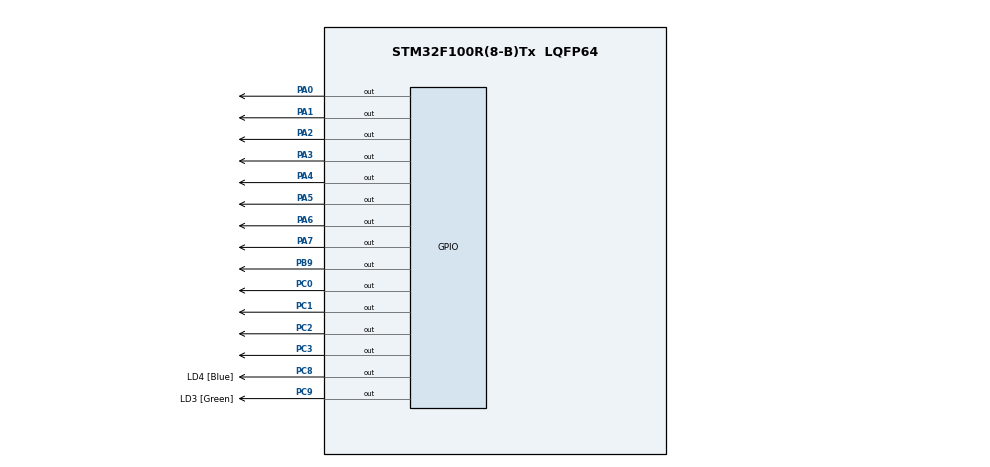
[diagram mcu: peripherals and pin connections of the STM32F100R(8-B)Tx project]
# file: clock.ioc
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Mcu.Family=STM32F1
Mcu.Name=STM32F100R(8-B)Tx
Mcu.Package=LQFP64
NVIC.PriorityGroup=NVIC_PRIORITYGROUP_4
PA0-WKUP.Signal=GPIO_Output
PA1.Signal=GPIO_Output
PA13.GPIO_Label=TMS_SWDIO
PA13.Mode=Serial_Wire
PA13.Signal=SYS_JTMS-SWDIO
PA14.GPIO_Label=TCK_SWCLK
PA14.Mode=Serial_Wire
PA14.Signal=SYS_JTCK-SWCLK
PA2.Signal=GPIO_Output
PA3.Signal=GPIO_Output
PA4.Signal=GPIO_Output
PA5.Signal=GPIO_Output
PA6.Signal=GPIO_Output
PA7.Signal=GPIO_Output
PB9.Signal=GPIO_Output
PC0.Signal=GPIO_Output
PC1.Signal=GPIO_Output
PC14-OSC32_IN.Mode=LSE-External-Oscillator
PC14-OSC32_IN.Signal=RCC_OSC32_IN
PC15-OSC32_OUT.Mode=LSE-External-Oscillator
PC15-OSC32_OUT.Signal=RCC_OSC32_OUT
PC2.Signal=GPIO_Output
PC3.Signal=GPIO_Output
PC8.GPIO_Label=LD4 [Blue]
PC8.Signal=GPIO_Output
PC9.GPIO_Label=LD3 [Green]
PC9.Signal=GPIO_Output
PD0-OSC_IN.Mode=HSE-External-Oscillator
PD0-OSC_IN.Signal=RCC_OSC_IN
PD1-OSC_OUT.Mode=HSE-External-Oscillator
PD1-OSC_OUT.Signal=RCC_OSC_OUT
ProjectManager.HeapSize=0x200
ProjectManager.StackSize=0x400
ProjectManager.TargetToolchain=Makefile
RCC.AHBFreq_Value=24000000
RCC.APB1Freq_Value=24000000
RCC.APB1TimFreq_Value=24000000
RCC.APB2Freq_Value=24000000
RCC.APB2TimFreq_Value=24000000
RCC.HCLKFreq_Value=24000000
RCC.PLLMUL=RCC_PLL_MUL3
RCC.PLLSource=RCC_PLLSOURCE_HSE
RCC.SYSCLKFreq_VALUE=24000000
RCC.SYSCLKSource=RCC_SYSCLKSOURCE_PLLCLK
board=STM32VLDISCOVERY

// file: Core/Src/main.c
/* USER CODE BEGIN Header */
/**
  ******************************************************************************
  * @file           : main.c
  * @brief          : Main program body
  ******************************************************************************
  * @attention
  *
  * <h2><center>&copy; Copyright (c) 2024 STMicroelectronics.
  * All rights reserved.</center></h2>
  *
  * This software component is licensed by ST under BSD 3-Clause license,
  * the "License"; You may not use this file except in compliance with the
  * License. You may obtain a copy of the License at:
  *                        opensource.org/licenses/BSD-3-Clause
  *
  ******************************************************************************
  */
/* USER CODE END Header */
#include "main.h"
#include "gpio.h"

/* USER CODE BEGIN Includes */
#include <stddef.h>
/* USER CODE END Includes */

/* USER CODE BEGIN PM */
#define DIG_1_ON		LL_GPIO_SetOutputPin (GPIOB, LL_GPIO_PIN_9);
#define DIG_3_ON		LL_GPIO_SetOutputPin (GPIOC, LL_GPIO_PIN_1);
#define	DIG_4_ON		LL_GPIO_SetOutputPin (GPIOC, LL_GPIO_PIN_2);
#define	DIG_2_ON		LL_GPIO_SetOutputPin (GPIOC, LL_GPIO_PIN_0);

#define DIG_1_OFF		LL_GPIO_ResetOutputPin (GPIOB, LL_GPIO_PIN_9);
#define	DIG_2_OFF		LL_GPIO_ResetOutputPin (GPIOC, LL_GPIO_PIN_0);
#define DIG_3_OFF		LL_GPIO_ResetOutputPin (GPIOC, LL_GPIO_PIN_1);
#define	DIG_4_OFF		LL_GPIO_ResetOutputPin (GPIOC, LL_GPIO_PIN_2);

#define SEG_D_ON		LL_GPIO_ResetOutputPin (GPIOC, LL_GPIO_PIN_3);//D
#define SEG_E_ON		LL_GPIO_ResetOutputPin (GPIOA, LL_GPIO_PIN_0);//E
#define SEG_F_ON		LL_GPIO_ResetOutputPin (GPIOA, LL_GPIO_PIN_1);//F
#define SEG_A_ON		LL_GPIO_ResetOutputPin (GPIOA, LL_GPIO_PIN_2);//A
#define SEG_B_ON		LL_GPIO_ResetOutputPin (GPIOA, LL_GPIO_PIN_3);//B
#define SEG_C_ON		LL_GPIO_ResetOutputPin (GPIOA, LL_GPIO_PIN_4);//C
#define SEG_G_ON		LL_GPIO_ResetOutputPin (GPIOA, LL_GPIO_PIN_5);//G
#define SEG_D3_ON		LL_GPIO_ResetOutputPin (GPIOA, LL_GPIO_PIN_6);//D3 + DIG2
#define SEG_D4_ON		LL_GPIO_ResetOutputPin (GPIOA, LL_GPIO_PIN_7);//D4 + DIG3

#define SEG_D_OFF		LL_GPIO_SetOutputPin (GPIOC, LL_GPIO_PIN_3);//D
#define SEG_E_OFF		LL_GPIO_SetOutputPin (GPIOA, LL_GPIO_PIN_0);//E
#define SEG_F_OFF		LL_GPIO_SetOutputPin (GPIOA, LL_GPIO_PIN_1);//F
#define SEG_A_OFF		LL_GPIO_SetOutputPin (GPIOA, LL_GPIO_PIN_2);//A
#define SEG_B_OFF		LL_GPIO_SetOutputPin (GPIOA, LL_GPIO_PIN_3);//B
#define SEG_C_OFF		LL_GPIO_SetOutputPin (GPIOA, LL_GPIO_PIN_4);//C
#define SEG_G_OFF		LL_GPIO_SetOutputPin (GPIOA, LL_GPIO_PIN_5);//G
#define SEG_D3_OFF	LL_GPIO_SetOutputPin (GPIOA, LL_GPIO_PIN_6);//D3 + DIG2
#define SEG_D4_OFF	LL_GPIO_SetOutputPin (GPIOA, LL_GPIO_PIN_7);//D4 + DIG3
/* USER CODE END PM */

/* USER CODE BEGIN PV */
static uint32_t timeout = 250;
/* USER CODE END PV */

void SystemClock_Config(void);
/* USER CODE BEGIN PFP */
void blurs_on(void)
{
	DIG_2_ON
	SEG_D3_OFF
	DIG_3_ON
	SEG_D4_OFF
}

void blurs_off(void)
{
	DIG_2_OFF
	SEG_D3_OFF
	DIG_3_OFF
	SEG_D4_OFF
}

void digital_seg_1_on(void)
{
	DIG_1_ON DIG_2_OFF DIG_3_OFF DIG_4_OFF
}

void digital_seg_1_off(void)
{
	DIG_1_OFF
}

void digital_seg_2_on(void)
{
	DIG_1_OFF DIG_2_ON DIG_3_OFF DIG_4_OFF
}

void digital_seg_2_off(void)
{
	DIG_2_OFF
}

void digital_seg_3_on(void)
{
	DIG_1_OFF DIG_2_OFF DIG_3_ON DIG_4_OFF
}

void digital_seg_3_off(void)
{
	DIG_3_OFF
}

void digital_seg_4_on(void)
{
	DIG_1_OFF DIG_2_OFF DIG_3_OFF DIG_4_ON
}

void digital_seg_4_off(void)
{
	DIG_4_OFF
}

void digital_0_on(void)
{
	SEG_A_ON SEG_B_ON	SEG_C_ON SEG_D_ON	SEG_E_ON SEG_F_ON	SEG_G_OFF	SEG_D3_OFF SEG_D4_OFF
}

void digital_0_off(void)
{
	SEG_A_OFF SEG_B_OFF SEG_C_OFF SEG_D_OFF SEG_E_OFF SEG_F_OFF
}

void digital_1_on(void)
{
	SEG_A_OFF	SEG_B_ON SEG_C_ON SEG_D_OFF SEG_E_OFF SEG_F_OFF SEG_G_OFF SEG_D3_OFF SEG_D4_OFF
}

void digital_1_off(void)
{
	SEG_B_OFF SEG_C_OFF
}

void digital_2_on(void)
{
	SEG_A_ON SEG_B_ON SEG_C_OFF SEG_D_ON SEG_E_ON SEG_F_OFF SEG_G_ON SEG_D3_OFF SEG_D4_OFF
}

void digital_2_off(void)
{
	SEG_A_OFF SEG_B_OFF SEG_D_OFF SEG_E_OFF SEG_G_OFF
}

void digital_3_on(void)
{
	SEG_A_ON SEG_B_ON SEG_C_ON SEG_D_ON SEG_E_OFF SEG_F_OFF SEG_G_ON SEG_D3_OFF SEG_D4_OFF
}

void digital_3_off(void)
{
	SEG_A_OFF SEG_B_OFF SEG_C_OFF SEG_D_OFF SEG_G_OFF
}

void digital_4_on(void)
{
	SEG_A_OFF SEG_B_ON SEG_C_ON SEG_D_OFF SEG_E_OFF SEG_F_ON	SEG_G_ON SEG_D3_OFF SEG_D4_OFF
}

void digital_4_off(void)
{
	SEG_B_OFF SEG_C_OFF SEG_F_OFF	SEG_G_OFF
}

void digital_5_on(void)
{
	SEG_A_ON SEG_B_OFF SEG_C_ON SEG_D_ON SEG_E_OFF SEG_F_ON	SEG_G_ON SEG_D3_OFF SEG_D4_OFF
}

void digital_5_off(void)
{
	SEG_A_OFF SEG_C_OFF SEG_D_OFF SEG_F_OFF	SEG_G_OFF
}

void digital_6_on(void)
{
	SEG_A_ON SEG_B_OFF SEG_C_ON SEG_D_ON SEG_E_ON SEG_F_ON SEG_G_ON SEG_D3_OFF SEG_D4_OFF
}

void digital_6_off(void)
{
	SEG_A_OFF SEG_C_OFF SEG_D_OFF SEG_E_OFF SEG_F_OFF SEG_G_OFF
}

void digital_7_on(void)
{
	SEG_A_ON SEG_B_ON SEG_C_ON SEG_D_OFF SEG_E_OFF SEG_F_OFF SEG_G_OFF SEG_D3_OFF SEG_D4_OFF
}

void digital_7_off(void)
{
	SEG_A_OFF SEG_B_OFF SEG_C_OFF
}

void digital_8_on(void)
{
	SEG_A_ON SEG_B_ON SEG_C_ON SEG_D_ON SEG_E_ON SEG_F_ON SEG_G_ON SEG_D3_OFF SEG_D4_OFF
}

void digital_8_off(void)
{
	SEG_A_OFF SEG_B_OFF SEG_C_OFF SEG_D_OFF SEG_E_OFF SEG_F_OFF SEG_G_OFF
}

void digital_9_on(void)
{
	SEG_A_ON SEG_B_ON SEG_C_ON SEG_D_ON SEG_E_OFF SEG_F_ON SEG_G_ON SEG_D3_OFF SEG_D4_OFF
}

void digital_9_off(void)
{
	SEG_A_OFF SEG_B_OFF SEG_C_OFF SEG_D_OFF SEG_F_OFF SEG_G_OFF
}

static void (*digitals_on []) (void) = {
    digital_0_on,
    digital_1_on,
    digital_2_on,
    digital_3_on,
    digital_4_on,
    digital_5_on,
    digital_6_on,
    digital_7_on,
    digital_8_on,
    digital_9_on
};

static void (*digitals_off []) (void) = {
    digital_0_off,
    digital_1_off,
    digital_2_off,
    digital_3_off,
    digital_4_off,
    digital_5_off,
    digital_6_off,
    digital_7_off,
    digital_8_off,
    digital_9_off
};
/* USER CODE END PFP */

int main(void)
{

  /* MCU Configuration--------------------------------------------------------*/

  /* Reset of all peripherals, Initializes the Flash interface and the Systick. */

  LL_APB2_GRP1_EnableClock(LL_APB2_GRP1_PERIPH_AFIO);
  LL_APB1_GRP1_EnableClock(LL_APB1_GRP1_PERIPH_PWR);

  NVIC_SetPriorityGrouping(NVIC_PRIORITYGROUP_4);

  /* System interrupt init*/

  /** NOJTAG: JTAG-DP Disabled and SW-DP Enabled
  */
  LL_GPIO_AF_Remap_SWJ_NOJTAG();

  /* Configure the system clock */
  SystemClock_Config();

  /* Initialize all configured peripherals */
  MX_GPIO_Init();
  /* USER CODE BEGIN 2 */
    size_t len = sizeof (digitals_on) / sizeof (digitals_on [0]);

  /* USER CODE END 2 */

  /* Infinite loop */
    while (1)
    {

    }
}

void SystemClock_Config(void)
{
  LL_RCC_HSE_Enable();

   /* Wait till HSE is ready */
  while(LL_RCC_HSE_IsReady() != 1)
  {

  }
  LL_RCC_PLL_ConfigDomain_SYS(LL_RCC_PLLSOURCE_HSE_DIV_1, LL_RCC_PLL_MUL_3);
  LL_RCC_PLL_Enable();

   /* Wait till PLL is ready */
  while(LL_RCC_PLL_IsReady() != 1)
  {

  }
  LL_RCC_SetAHBPrescaler(LL_RCC_SYSCLK_DIV_1);
  LL_RCC_SetAPB1Prescaler(LL_RCC_APB1_DIV_1);
  LL_RCC_SetAPB2Prescaler(LL_RCC_APB2_DIV_1);
  LL_RCC_SetSysClkSource(LL_RCC_SYS_CLKSOURCE_PLL);

   /* Wait till System clock is ready */
  while(LL_RCC_GetSysClkSource() != LL_RCC_SYS_CLKSOURCE_STATUS_PLL)
  {

  }
  LL_Init1msTick(24000000);
  LL_SetSystemCoreClock(24000000);
}

void Error_Handler(void)
{
  __disable_irq();
  while (1)
  {
  }
}

/************************ (C) COPYRIGHT STMicroelectronics *****END OF FILE****/
